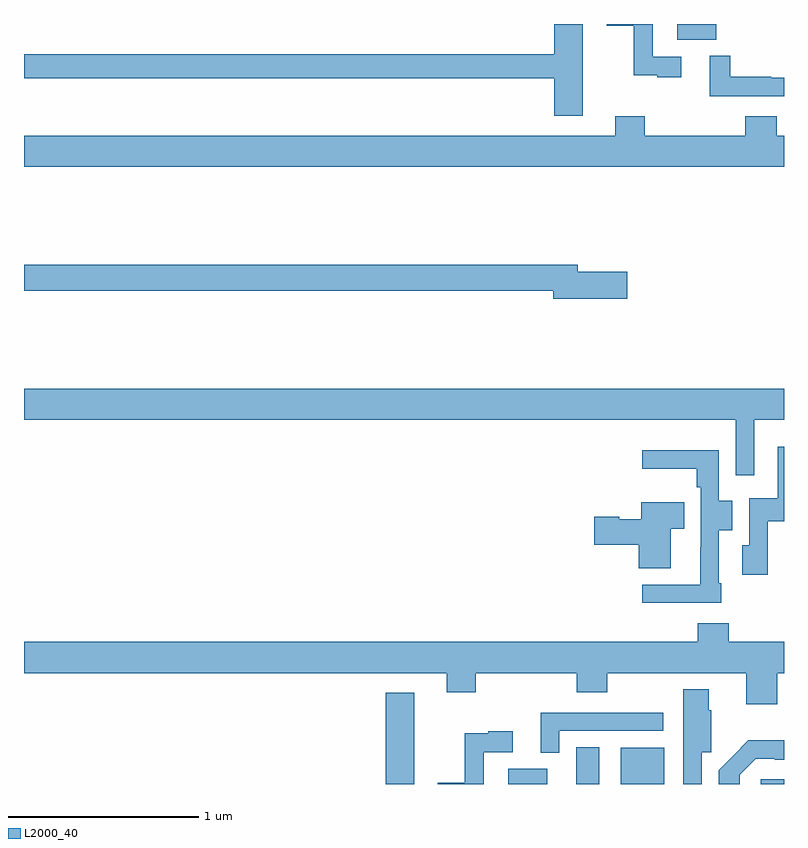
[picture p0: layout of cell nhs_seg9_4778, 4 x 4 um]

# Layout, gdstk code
import gdstk
lib = gdstk.Library(unit=1e-6, precision=1e-09)
def R(c, l, rs):  # rectangles x0, y0, x1, y1
    for r in rs: c.add(gdstk.rectangle(r[:2], r[2:], *l))
def P(c, l, *ps):  # polygons
    for p in ps: c.add(gdstk.Polygon(p, *l))
L2000_40 = (2000, 40)

nhs_seg9_4778 = lib.new_cell('nhs_seg9_4778')
R(nhs_seg9_4778, L2000_40, [(388.904,1198.5,389.053,1198.981), (389.549,1198.5,389.755,1198.579), (389.906,1198.5,390.028,1198.694), (390.14,1198.5,390.37,1198.69), (390.878,1198.5,391,1198.524), (390.437,1202.417,390.643,1202.5)])
P(nhs_seg9_4778, L2000_40, [(390.46,1202.328),(390.309,1202.328),(390.309,1202.5),(390.066,1202.5),(390.066,1202.491),(390.208,1202.491),(390.208,1202.231),(390.332,1202.231),(390.332,1202.22),(390.46,1202.22)],
  [(389.941,1202.5),(389.792,1202.5),(389.792,1202.342),(387,1202.342),(387,1202.214),(389.792,1202.214),(389.792,1202.016),(389.941,1202.016)],
  [(391,1202.217),(390.932,1202.217),(390.932,1202.222),(390.718,1202.222),(390.718,1202.332),(390.608,1202.332),(390.608,1202.121),(391,1202.121)],
  [(391,1201.912),(390.962,1201.912),(390.962,1202.014),(390.797,1202.014),(390.797,1201.912),(390.266,1201.912),(390.266,1202.014),(390.113,1202.014),(390.113,1201.912),(387,1201.912),(387,1201.748),(391,1201.748)],
  [(390.175,1201.196),(389.914,1201.196),(389.914,1201.232),(387,1201.232),(387,1201.096),(389.786,1201.096),(389.786,1201.054),(390.175,1201.054)],
  [(390.843,1200.416),(391,1200.416),(391,1200.58),(387,1200.58),(387,1200.416),(390.747,1200.416),(390.747,1200.126),(390.843,1200.126)],
  [(390.915,1199.882),(391,1199.882),(391,1200.274),(390.966,1200.274),(390.966,1200.004),(390.816,1200.004),(390.816,1199.757),(390.779,1199.757),(390.779,1199.601),(390.915,1199.601)],
  [(390.67,1199.557),(390.657,1199.557),(390.657,1199.836),(390.727,1199.836),(390.727,1199.991),(390.657,1199.991),(390.657,1200.256),(390.255,1200.256),(390.255,1200.158),(390.541,1200.158),(390.541,1200.062),(390.561,1200.062),(390.561,1199.747),(390.56,1199.747),(390.56,1199.55),(390.255,1199.55),(390.255,1199.454),(390.67,1199.454)],
  [(390.403,1199.843),(390.476,1199.843),(390.476,1199.983),(390.248,1199.983),(390.248,1199.893),(390.132,1199.893),(390.132,1199.906),(390,1199.906),(390,1199.759),(390.236,1199.759),(390.236,1199.635),(390.403,1199.635)],
  [(390.964,1199.084),(391,1199.084),(391,1199.248),(390.71,1199.248),(390.71,1199.347),(390.545,1199.347),(390.545,1199.248),(387,1199.248),(387,1199.084),(389.225,1199.084),(389.225,1198.982),(389.378,1198.982),(389.378,1199.084),(389.909,1199.084),(389.909,1198.982),(390.069,1198.982),(390.069,1199.084),(390.8,1199.084),(390.8,1198.92),(390.964,1198.92)],
  [(390.567,1198.668),(390.617,1198.668),(390.617,1198.889),(390.604,1198.889),(390.604,1198.999),(390.47,1198.999),(390.47,1198.782),(390.471,1198.782),(390.471,1198.5),(390.567,1198.5)],
  [(389.817,1198.779),(390.364,1198.779),(390.364,1198.875),(389.72,1198.875),(389.72,1198.664),(389.817,1198.664)],
  [(389.421,1198.668),(389.572,1198.668),(389.572,1198.777),(389.444,1198.777),(389.444,1198.766),(389.32,1198.766),(389.32,1198.506),(389.178,1198.506),(389.178,1198.5),(389.421,1198.5)],
  [(390.768,1198.548),(390.852,1198.632),(390.952,1198.632),(390.952,1198.628),(391,1198.628),(391,1198.729),(390.811,1198.729),(390.73,1198.647),(390.73,1198.646),(390.656,1198.572),(390.656,1198.5),(390.768,1198.5)])

lib.write_gds('nhs_seg9_4778.gds')
